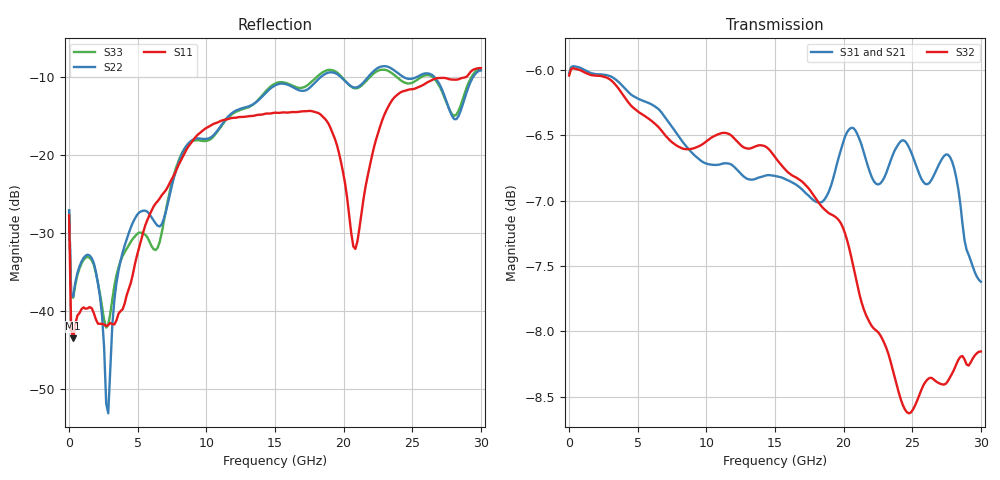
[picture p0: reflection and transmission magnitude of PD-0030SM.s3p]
! MARKI MICROWAVE INC.
! Email:  info@markimicrowave.com  Phone:  408-778-4200
! Model Number:  PD-0030SM  Date:  07/11
! Filename:		PD-0030SM.S3P  Version: 1.0
! Description:  3-port S-parameter data for Power Divider PD-0030SM
! Frequency Range: 	10 MHz to 30 GHz
! Port Configuration:	PORT 1: COMMON, PORT 2 and PORT 3: OUTPUT
! Note:  S-Parameters include Test Fixture
! S3P File: Measurements: Mag<S11> Ang<S11> Mag<S12> Ang<S12> Mag<S13> Ang<S13>! row 1
!  Mag<S21> Ang<S21> Mag<S22> Ang<S22> Mag<S23> Ang<S23>! row 2
!  Mag<S31> Ang<S31> Mag<S32> Ang<S32> Mag<S33> Ang<S33>! row 3
# GHz S dB R 50
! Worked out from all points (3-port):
!   201 points, 10 MHz to 30 GHz, reference 50 ohm
!   strongest paths, dB at 10 MHz, 7.51 GHz, 15.01 GHz, 22.51 GHz, 30 GHz:
!     S32: -6.0, -6.6, -6.7, -8.0, -8.2
!     S31: -6.0, -6.4, -6.8, -6.9, -7.6
!     S21: -6.1, -6.5, -7.0, -7.0, -7.5
!   lowest |S11| = -43.5 dB at 310 MHz (marker M1), VSWR 1.01, Z = 50.4 + j0.567 ohm
!   |S11| at or under -10 dB: start of sweep to 28.85 GHz
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0.01  -27.69 94.6  -5.97 -0.2  -5.97 -0.2
      -6.06 0.1  -27.05 92.1  -5.96 -0.2
      -6.03 0.1  -6.04 0.4  -27.11 91.8
0.31  -43.46 57.0  -5.99 -8.5  -5.97 -8.5
      -5.98 -8.5  -38.10 53.2  -5.99 -7.8
      -5.97 -8.5  -5.99 -7.8  -38.25 55.8
1.81  -40.23 35.1  -6.04 -49.4  -6.03 -49.3
      -6.04 -49.4  -33.82 30.7  -6.04 -45.0
      -6.03 -49.3  -6.04 -45.0  -34.03 40.7
2.86  -41.75 -3.6  -6.05 -78.0  -6.04 -77.9
      -6.05 -78.0  -53.07 116.3  -6.06 -71.2
      -6.04 -77.9  -6.06 -71.2  -41.74 107.7
4.81  -33.89 -4.0  -6.22 -131.2  -6.20 -130.9
      -6.23 -131.0  -28.07 178.0  -6.30 -119.4
      -6.21 -130.7  -6.30 -119.2  -30.37 163.2
9.91  -16.60 76.7  -6.75 92.8  -6.69 92.8
      -6.77 92.8  -17.90 -73.6  -6.54 118.1
      -6.71 92.8  -6.55 118.1  -18.18 -82.2
15.01  -14.54 93.9  -6.98 -42.9  -6.83 -43.1
       -6.96 -42.6  -11.04 15.9  -6.69 -8.7
       -6.81 -42.7  -6.67 -8.3  -10.81 5.4
20.86  -32.00 22.1  -6.48 158.9  -6.46 159.0
       -6.47 158.9  -11.32 91.3  -7.58 -154.6
       -6.46 159.1  -7.58 -154.5  -11.42 87.1
26.26  -10.51 -17.9  -6.90 12.0  -6.88 10.4
       -6.89 12.4  -9.54 -141.2  -8.37 81.6
       -6.86 10.8  -8.36 82.0  -9.76 -147.0
30  -8.83 12.6  -7.44 -92.5  -7.60 -93.4
    -7.47 -92.1  -9.12 9.6  -8.12 -5.2
    -7.62 -93.1  -8.15 -4.9  -8.90 9.5
